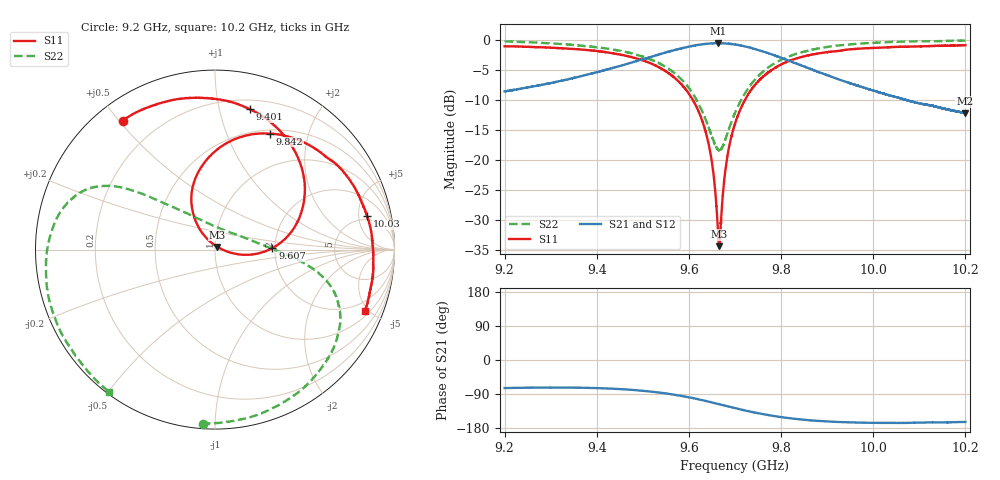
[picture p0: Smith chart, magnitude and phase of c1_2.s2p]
!Agilent Technologies,N5242A,MY51221714,A.09.90.19
!Agilent N5242A: A.09.90.19
!Date: Saturday, December 30, 2023 09:55:47
!Correction: S11(Full 2 Port(1,2))
!S21(Full 2 Port(1,2))
!S12(Full 2 Port(1,2))
!S22(Full 2 Port(1,2))
!S2P File: Measurements: S11, S21, S12, S22:
# Hz S  dB  R 50
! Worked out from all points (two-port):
!   16001 points, 9.2 GHz to 10.2 GHz, reference 50 ohm
!   highest |S21| = -0.55 dB at 9.664 GHz (marker M1); lowest = -12.2 dB at 10.2 GHz (marker M2)
!   |S21| within 3 dB of the highest: 9.486 GHz to 9.819 GHz (333.4 MHz wide, 3.45 % of centre)
!   lowest |S11| = -34.4 dB at 9.665 GHz (marker M3), VSWR 1.04, Z = 51.1 + j1.55 ohm
!   |S11| at or under -10 dB: 9.608 GHz to 9.722 GHz (113.6 MHz wide, 1.18 % of centre); 9.7219 GHz to 9.721952 GHz (51.91 kHz wide, 0.000534 % of centre)
!   |S22| runs from -18.5 to -0.1 dB; largest |S21 - S12| = 0.011
!   S11 on the Smith chart (normalised r, x): 9.2 GHz: 0.08, +0.51; 9.401 GHz: 0.28, +1.24; 9.607 GHz: 1.94, +0.04; 9.842 GHz: 0.54, +1.44; 10.03 GHz: 4.27, +6.42; 10.2 GHz: 1.26, -4.72
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9.2e9  -1.07 125.7  -8.60 -74.0  -8.59 -74.6  -0.24 -94.1
9.277875e9  -1.23 107.7  -7.54 -72.8  -7.54 -73.3  -0.49 -73.0
9.366688e9  -1.60 85.5  -6.05 -73.2  -6.05 -73.8  -0.98 -50.2
9.401375e9  -1.88 76.0  -5.36 -74.2  -5.36 -74.7  -1.23 -41.7
9.467938e9  -2.74 55.8  -3.95 -78.1  -3.95 -78.6  -2.10 -27.3
9.533375e9  -4.52 32.8  -2.48 -85.5  -2.46 -86.0  -3.83 -15.5
9.60725e9  -9.89 1.7  -1.01 -100.2  -1.01 -100.8  -8.83 -2.0
9.643375e9  -17.62 -11.3  -0.61 -110.1  -0.61 -110.6  -14.73 20.3
9.653625e9  -22.61 -10.1  -0.56 -113.1  -0.56 -113.6  -16.88 36.2
9.663688e9  -32.69 27.8  -0.55 -116.1  -0.55 -116.6  -18.35 61.3
9.6655e9  -34.44 52.9  -0.56 -116.6  -0.55 -117.2  -18.40 67.1
9.66875e9  -31.50 98.3  -0.55 -117.6  -0.55 -118.1  -18.33 76.4
9.68175e9  -20.30 127.6  -0.61 -121.4  -0.60 -122.1  -16.04 107.6
9.7e9  -14.05 123.5  -0.77 -126.9  -0.75 -127.5  -12.19 126.4
9.751938e9  -6.80 100.4  -1.73 -140.8  -1.71 -141.4  -5.92 142.4
9.841688e9  -2.91 64.6  -4.20 -156.7  -4.20 -157.2  -2.12 154.3
9.866688e9  -2.45 56.3  -4.93 -159.5  -4.94 -160.0  -1.65 158.2
9.950312e9  -1.58 32.4  -7.25 -164.5  -7.24 -165.1  -0.76 174.0
1.0032e10  -1.24 12.4  -9.19 -166.0  -9.18 -166.6  -0.37 -168.1
1.003338e10  -1.23 12.0  -9.22 -165.9  -9.22 -166.6  -0.37 -167.7
1.019881e10  -0.90 -22.1  -12.23 -163.4  -12.20 -164.0  -0.11 -127.0
1.02e10  -0.89 -22.4  -12.22 -163.4  -12.22 -164.1  -0.11 -126.7
